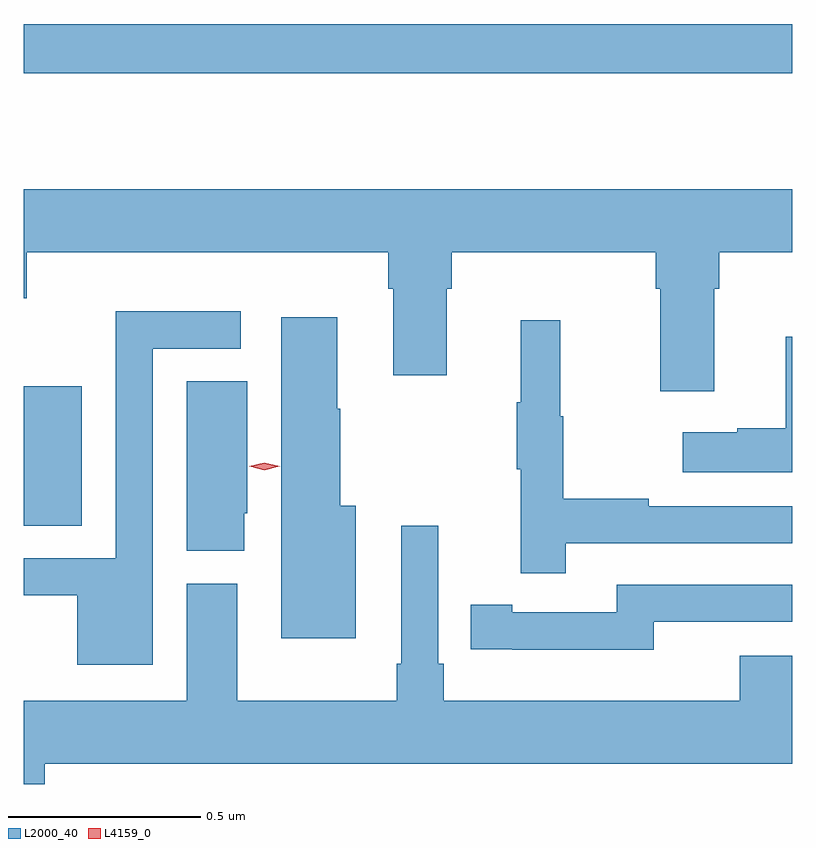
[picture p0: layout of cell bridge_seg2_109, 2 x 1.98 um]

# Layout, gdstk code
import gdstk
lib = gdstk.Library(unit=1e-6, precision=1e-09)
def R(c, l, rs):  # rectangles x0, y0, x1, y1
    for r in rs: c.add(gdstk.rectangle(r[:2], r[2:], *l))
def P(c, l, *ps):  # polygons
    for p in ps: c.add(gdstk.Polygon(p, *l))
L2000_40 = (2000, 40)
L4159_0 = (4159, 0)

bridge_seg2_109 = lib.new_cell('bridge_seg2_109')
R(bridge_seg2_109, L2000_40, [(556.966,632.272,557.116,632.635), (556.966,633.45,558.966,633.578)])
P(bridge_seg2_109, L2000_40, [(558.763,632.888),(558.776,632.888),(558.776,632.984),(558.966,632.984),(558.966,633.148),(556.966,633.148),(556.966,632.864),(556.973,632.864),(556.973,632.984),(557.915,632.984),(557.915,632.888),(557.927,632.888),(557.927,632.664),(558.067,632.664),(558.067,632.888),(558.08,632.888),(558.08,632.984),(558.611,632.984),(558.611,632.888),(558.623,632.888),(558.623,632.622),(558.763,632.622)],
  [(557.301,632.733),(557.53,632.733),(557.53,632.83),(557.205,632.83),(557.205,632.187),(556.966,632.187),(556.966,632.091),(557.105,632.091),(557.105,631.91),(557.301,631.91)],
  [(557.83,632.323),(557.79,632.323),(557.79,632.576),(557.782,632.576),(557.782,632.815),(557.636,632.815),(557.636,631.979),(557.83,631.979)],
  [(558.377,632.226),(558.966,632.226),(558.966,632.322),(558.593,632.322),(558.593,632.342),(558.37,632.342),(558.37,632.556),(558.362,632.556),(558.362,632.806),(558.26,632.806),(558.26,632.593),(558.249,632.593),(558.249,632.419),(558.26,632.419),(558.26,632.148),(558.377,632.148)],
  [(558.966,632.764),(558.95,632.764),(558.95,632.525),(558.824,632.525),(558.824,632.515),(558.681,632.515),(558.681,632.411),(558.966,632.411)],
  [(557.539,632.304),(557.548,632.304),(557.548,632.648),(557.39,632.648),(557.39,632.206),(557.539,632.206)],
  [(557.02,631.652),(558.966,631.652),(558.966,631.933),(558.83,631.933),(558.83,631.816),(558.059,631.816),(558.059,631.912),(558.045,631.912),(558.045,632.272),(557.949,632.272),(557.949,631.912),(557.937,631.912),(557.937,631.816),(557.521,631.816),(557.521,632.121),(557.39,632.121),(557.39,631.816),(556.966,631.816),(556.966,631.599),(557.02,631.599)],
  [(558.606,632.022),(558.966,632.022),(558.966,632.118),(558.51,632.118),(558.51,632.046),(558.238,632.046),(558.238,632.066),(558.13,632.066),(558.13,631.95),(558.238,631.95),(558.238,631.949),(558.606,631.949)])
P(bridge_seg2_109, L4159_0, [(557.592,632.416),(557.552,632.426),(557.552,632.427),(557.552,632.427),(557.592,632.436),(557.632,632.427),(557.632,632.426),(557.632,632.426)])

lib.write_gds('bridge_seg2_109.gds')
